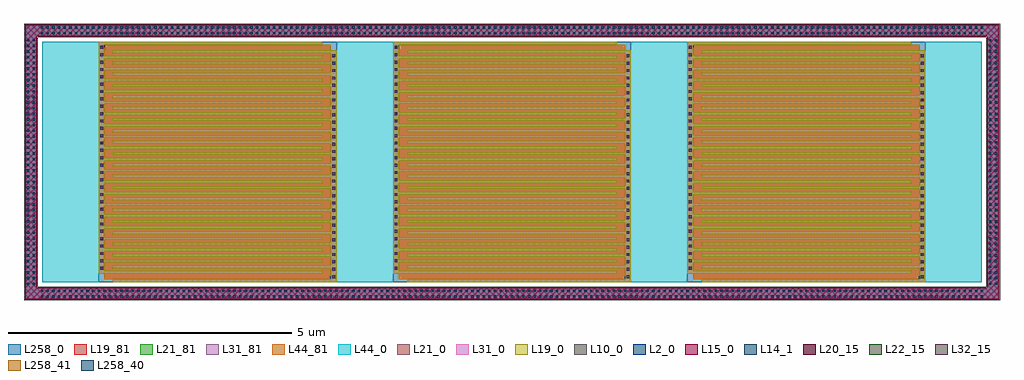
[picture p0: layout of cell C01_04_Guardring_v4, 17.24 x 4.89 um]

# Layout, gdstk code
from math import pi, radians
import gdstk
lib = gdstk.Library(unit=1e-6, precision=1e-09)
def R(c, l, rs):  # rectangles x0, y0, x1, y1
    for r in rs: c.add(gdstk.rectangle(r[:2], r[2:], *l))
def A(c, l, x, y, w, h, nx, ny, dx, dy):  # array of equal rectangles
    R(c, l, [(x+i*dx, y+j*dy, x+i*dx+w, y+j*dy+h) for i in range(nx) for j in range(ny)])
L2_0 = (2, 0)
L10_0 = (10, 0)
L14_1 = (14, 1)
L15_0 = (15, 0)
L19_0 = (19, 0)
L19_81 = (19, 81)
L20_15 = (20, 15)
L21_0 = (21, 0)
L21_81 = (21, 81)
L22_15 = (22, 15)
L31_0 = (31, 0)
L31_81 = (31, 81)
L32_15 = (32, 15)
L44_0 = (44, 0)
L44_81 = (44, 81)
L258_0 = (258, 0)
L258_40 = (258, 40)
L258_41 = (258, 41)

c01_04_guardring_v4_srf_ = lib.new_cell('C01_04_Guardring_v4:SRF_Array:SRF_HDVNCAP:SRF_FingerArray:SRF_FingerPair')
R(c01_04_guardring_v4_srf_, L19_0, [(0.1,-0.15,0.15,3.7), (0,0,0.05,3.85)])
R(c01_04_guardring_v4_srf_, L21_0, [(0.1,-0.15,0.15,3.7), (0,0,0.05,3.85)])
R(c01_04_guardring_v4_srf_, L31_0, [(0.1,-0.15,0.15,3.7), (0,0,0.05,3.85)])
R(c01_04_guardring_v4_srf_, L44_0, [(0.1,-0.15,0.15,3.7), (0,0,0.05,3.85)])

c_c01_04_guardring_v4_srf_ = lib.new_cell('C01_04_Guardring_v4:SRF_Array:SRF_HDVNCAP:SRF_FingerArray')
c_c01_04_guardring_v4_srf_.add(gdstk.Reference(c01_04_guardring_v4_srf_, (0,0)))
c_c01_04_guardring_v4_srf_.add(gdstk.Reference(c01_04_guardring_v4_srf_, (0.2,0)))
c_c01_04_guardring_v4_srf_.add(gdstk.Reference(c01_04_guardring_v4_srf_, (0.4,0)))
c_c01_04_guardring_v4_srf_.add(gdstk.Reference(c01_04_guardring_v4_srf_, (0.6,0)))
c_c01_04_guardring_v4_srf_.add(gdstk.Reference(c01_04_guardring_v4_srf_, (0.8,0)))
c_c01_04_guardring_v4_srf_.add(gdstk.Reference(c01_04_guardring_v4_srf_, (1,0)))
c_c01_04_guardring_v4_srf_.add(gdstk.Reference(c01_04_guardring_v4_srf_, (1.2,0)))
c_c01_04_guardring_v4_srf_.add(gdstk.Reference(c01_04_guardring_v4_srf_, (1.4,0)))
c_c01_04_guardring_v4_srf_.add(gdstk.Reference(c01_04_guardring_v4_srf_, (1.6,0)))
c_c01_04_guardring_v4_srf_.add(gdstk.Reference(c01_04_guardring_v4_srf_, (1.8,0)))
c_c01_04_guardring_v4_srf_.add(gdstk.Reference(c01_04_guardring_v4_srf_, (2,0)))
c_c01_04_guardring_v4_srf_.add(gdstk.Reference(c01_04_guardring_v4_srf_, (2.2,0)))
c_c01_04_guardring_v4_srf_.add(gdstk.Reference(c01_04_guardring_v4_srf_, (2.4,0)))
c_c01_04_guardring_v4_srf_.add(gdstk.Reference(c01_04_guardring_v4_srf_, (2.6,0)))
c_c01_04_guardring_v4_srf_.add(gdstk.Reference(c01_04_guardring_v4_srf_, (2.8,0)))
c_c01_04_guardring_v4_srf_.add(gdstk.Reference(c01_04_guardring_v4_srf_, (3,0)))
c_c01_04_guardring_v4_srf_.add(gdstk.Reference(c01_04_guardring_v4_srf_, (3.2,0)))
c_c01_04_guardring_v4_srf_.add(gdstk.Reference(c01_04_guardring_v4_srf_, (3.4,0)))
c_c01_04_guardring_v4_srf_.add(gdstk.Reference(c01_04_guardring_v4_srf_, (3.6,0)))
c_c01_04_guardring_v4_srf_.add(gdstk.Reference(c01_04_guardring_v4_srf_, (3.8,0)))

c_c01_04_guardring_v4_srf__ = lib.new_cell('C01_04_Guardring_v4:SRF_Array:SRF_HDVNCAP:SRF_Via0_PortA_Hrz:SRF_ViaM3M4')
R(c_c01_04_guardring_v4_srf__, L19_0, [(-0.032,0,3.982,0.05)])
A(c_c01_04_guardring_v4_srf__, L20_15, 0, 0, 0.05, 0.05, 31, 1, 0.13, 0)
R(c_c01_04_guardring_v4_srf__, L21_0, [(-0.032,0,3.982,0.05)])

c_c01_04_guardring_v4_srf___ = lib.new_cell('C01_04_Guardring_v4:SRF_Array:SRF_HDVNCAP:SRF_Via0_PortA_Hrz')
c_c01_04_guardring_v4_srf___.add(gdstk.Reference(c_c01_04_guardring_v4_srf__, (-1.975,-0.025)))

c_c01_04_guardring_v4_srf____ = lib.new_cell('C01_04_Guardring_v4:SRF_Array:SRF_HDVNCAP:SRF_Via1_PortA_Hrz:SRF_ViaM4M5')
R(c_c01_04_guardring_v4_srf____, L21_0, [(-0.032,0,3.982,0.05)])
A(c_c01_04_guardring_v4_srf____, L22_15, 0, 0, 0.05, 0.05, 31, 1, 0.13, 0)
R(c_c01_04_guardring_v4_srf____, L31_0, [(-0.032,0,3.982,0.05)])

c_c01_04_guardring_v4_srf_____ = lib.new_cell('C01_04_Guardring_v4:SRF_Array:SRF_HDVNCAP:SRF_Via1_PortA_Hrz')
c_c01_04_guardring_v4_srf_____.add(gdstk.Reference(c_c01_04_guardring_v4_srf____, (-1.975,-0.025)))

c_c01_04_guardring_v4_srf______ = lib.new_cell('C01_04_Guardring_v4:SRF_Array:SRF_HDVNCAP:SRF_Via2_PortA_Hrz:SRF_ViaM5M6')
R(c_c01_04_guardring_v4_srf______, L31_0, [(-0.032,0,3.982,0.05)])
A(c_c01_04_guardring_v4_srf______, L32_15, 0, 0, 0.05, 0.05, 31, 1, 0.13, 0)
R(c_c01_04_guardring_v4_srf______, L44_0, [(-0.032,0,3.982,0.05)])

c_c01_04_guardring_v4_srf_______ = lib.new_cell('C01_04_Guardring_v4:SRF_Array:SRF_HDVNCAP:SRF_Via2_PortA_Hrz')
c_c01_04_guardring_v4_srf_______.add(gdstk.Reference(c_c01_04_guardring_v4_srf______, (-1.975,-0.025)))

c_c01_04_guardring_v4_srf________ = lib.new_cell('C01_04_Guardring_v4:SRF_Array:SRF_HDVNCAP:SRF_Via0_PortB_Hrz:SRF_ViaM3M4')
R(c_c01_04_guardring_v4_srf________, L19_0, [(-0.032,0,3.982,0.05)])
A(c_c01_04_guardring_v4_srf________, L20_15, 0, 0, 0.05, 0.05, 31, 1, 0.13, 0)
R(c_c01_04_guardring_v4_srf________, L21_0, [(-0.032,0,3.982,0.05)])

c_c01_04_guardring_v4_srf_________ = lib.new_cell('C01_04_Guardring_v4:SRF_Array:SRF_HDVNCAP:SRF_Via0_PortB_Hrz')
c_c01_04_guardring_v4_srf_________.add(gdstk.Reference(c_c01_04_guardring_v4_srf________, (-1.975,-0.025)))

c_c01_04_guardring_v4_srf__________ = lib.new_cell('C01_04_Guardring_v4:SRF_Array:SRF_HDVNCAP:SRF_Via1_PortB_Hrz:SRF_ViaM4M5')
R(c_c01_04_guardring_v4_srf__________, L21_0, [(-0.032,0,3.982,0.05)])
A(c_c01_04_guardring_v4_srf__________, L22_15, 0, 0, 0.05, 0.05, 31, 1, 0.13, 0)
R(c_c01_04_guardring_v4_srf__________, L31_0, [(-0.032,0,3.982,0.05)])

c_c01_04_guardring_v4_srf___________ = lib.new_cell('C01_04_Guardring_v4:SRF_Array:SRF_HDVNCAP:SRF_Via1_PortB_Hrz')
c_c01_04_guardring_v4_srf___________.add(gdstk.Reference(c_c01_04_guardring_v4_srf__________, (-1.975,-0.025)))

c_c01_04_guardring_v4_srf____________ = lib.new_cell('C01_04_Guardring_v4:SRF_Array:SRF_HDVNCAP:SRF_Via2_PortB_Hrz:SRF_ViaM5M6')
R(c_c01_04_guardring_v4_srf____________, L31_0, [(-0.032,0,3.982,0.05)])
A(c_c01_04_guardring_v4_srf____________, L32_15, 0, 0, 0.05, 0.05, 31, 1, 0.13, 0)
R(c_c01_04_guardring_v4_srf____________, L44_0, [(-0.032,0,3.982,0.05)])

c_c01_04_guardring_v4_srf_____________ = lib.new_cell('C01_04_Guardring_v4:SRF_Array:SRF_HDVNCAP:SRF_Via2_PortB_Hrz')
c_c01_04_guardring_v4_srf_____________.add(gdstk.Reference(c_c01_04_guardring_v4_srf____________, (-1.975,-0.025)))

c_c01_04_guardring_v4_srf______________ = lib.new_cell('C01_04_Guardring_v4:SRF_Array:SRF_HDVNCAP')
R(c_c01_04_guardring_v4_srf______________, L19_0, [(-0.15,-0.25,3.95,-0.15), (-0.15,-0.25,-0.1,3.7), (4.05,0,4.1,3.95), (0,3.85,4.1,3.95)])
R(c_c01_04_guardring_v4_srf______________, L19_81, [(-0.1,-0.15,4.05,3.85)])
R(c_c01_04_guardring_v4_srf______________, L21_0, [(-0.15,-0.25,3.95,-0.15), (-0.15,-0.25,-0.1,3.7), (4.05,0,4.1,3.95), (0,3.85,4.1,3.95)])
R(c_c01_04_guardring_v4_srf______________, L21_81, [(-0.1,-0.15,4.05,3.85)])
R(c_c01_04_guardring_v4_srf______________, L31_0, [(-0.15,-0.25,3.95,-0.15), (-0.15,-0.25,-0.1,3.7), (4.05,0,4.1,3.95), (0,3.85,4.1,3.95)])
R(c_c01_04_guardring_v4_srf______________, L31_81, [(-0.1,-0.15,4.05,3.85)])
R(c_c01_04_guardring_v4_srf______________, L44_0, [(-0.15,-0.25,3.95,-0.15), (-0.15,-0.25,-0.1,3.7), (4.05,0,4.1,3.95), (0,3.85,4.1,3.95)])
R(c_c01_04_guardring_v4_srf______________, L44_81, [(-0.1,-0.15,4.05,3.85)])
R(c_c01_04_guardring_v4_srf______________, L258_0, [(-0.15,-0.25,4.1,3.95)])
A(c_c01_04_guardring_v4_srf______________, L258_40, -0.09, -0.15, 0.01, 0.01, 3, 1, 0.02, 0)
A(c_c01_04_guardring_v4_srf______________, L258_41, 3.97, 3.84, 0.01, 0.01, 4, 1, 0.02, 0)
c_c01_04_guardring_v4_srf______________.add(gdstk.Reference(c_c01_04_guardring_v4_srf_, (0,0)))
c_c01_04_guardring_v4_srf______________.add(gdstk.Reference(c_c01_04_guardring_v4_srf___, (2.05,3.9)))
c_c01_04_guardring_v4_srf______________.add(gdstk.Reference(c_c01_04_guardring_v4_srf_____, (2.05,3.9)))
c_c01_04_guardring_v4_srf______________.add(gdstk.Reference(c_c01_04_guardring_v4_srf_______, (2.05,3.9)))
c_c01_04_guardring_v4_srf______________.add(gdstk.Reference(c_c01_04_guardring_v4_srf_________, (1.9,-0.2)))
c_c01_04_guardring_v4_srf______________.add(gdstk.Reference(c_c01_04_guardring_v4_srf___________, (1.9,-0.2)))
c_c01_04_guardring_v4_srf______________.add(gdstk.Reference(c_c01_04_guardring_v4_srf_____________, (1.9,-0.2)))

c_c01_04_guardring_v4_srf_______________ = lib.new_cell('C01_04_Guardring_v4:SRF_Array')
A(c_c01_04_guardring_v4_srf_______________, L44_0, 0, 0, 1, 4.25, 4, 1, 5.2, 0)
c_c01_04_guardring_v4_srf_______________.add(gdstk.Reference(c_c01_04_guardring_v4_srf______________, (4.95,0.15), rotation=pi/2))
c_c01_04_guardring_v4_srf_______________.add(gdstk.Reference(c_c01_04_guardring_v4_srf______________, (10.15,0.15), rotation=pi/2))
c_c01_04_guardring_v4_srf_______________.add(gdstk.Reference(c_c01_04_guardring_v4_srf______________, (15.35,0.15), rotation=pi/2))

c01_04_guardring_v4__pbo = lib.new_cell('C01_04_Guardring_v4:_Pbodyring:SRF_PbodyTop:SRF_PbodyContactPhyLen')
R(c01_04_guardring_v4__pbo, L2_0, [(-0.08,-0.13,16.72,0.07)])
R(c01_04_guardring_v4__pbo, L10_0, [(-0.101,-0.151,16.741,0.091)])
A(c01_04_guardring_v4__pbo, L14_1, 0, -0.1, 0.04, 0.04, 167, 2, 0.1, 0.1)
R(c01_04_guardring_v4__pbo, L15_0, [(-0.08,-0.13,16.72,0.07)])

c_c01_04_guardring_v4__pbo = lib.new_cell('C01_04_Guardring_v4:_Pbodyring:SRF_PbodyTop')
c_c01_04_guardring_v4__pbo.add(gdstk.Reference(c01_04_guardring_v4__pbo, (0,0)))

c_c01_04_guardring_v4__pbo_ = lib.new_cell('C01_04_Guardring_v4:_Pbodyring:SRF_PbodyBottom:SRF_PbodyContactPhyLen')
R(c_c01_04_guardring_v4__pbo_, L2_0, [(-0.08,-0.13,16.72,0.07)])
R(c_c01_04_guardring_v4__pbo_, L10_0, [(-0.101,-0.151,16.741,0.091)])
A(c_c01_04_guardring_v4__pbo_, L14_1, 0, -0.1, 0.04, 0.04, 167, 2, 0.1, 0.1)
R(c_c01_04_guardring_v4__pbo_, L15_0, [(-0.08,-0.13,16.72,0.07)])

c_c01_04_guardring_v4__pbo__ = lib.new_cell('C01_04_Guardring_v4:_Pbodyring:SRF_PbodyBottom')
c_c01_04_guardring_v4__pbo__.add(gdstk.Reference(c_c01_04_guardring_v4__pbo_, (0,0)))

c_c01_04_guardring_v4__pbo___ = lib.new_cell('C01_04_Guardring_v4:_Pbodyring:SRF_PbodyLeft:SRF_PbodyContactPhyLen')
R(c_c01_04_guardring_v4__pbo___, L2_0, [(-0.03,-4.355,0.17,0.095)])
R(c_c01_04_guardring_v4__pbo___, L10_0, [(-0.051,-4.376,0.191,0.116)])
A(c_c01_04_guardring_v4__pbo___, L14_1, 0, -4.3, 0.04, 0.04, 1, 44, 0, 0.1)
A(c_c01_04_guardring_v4__pbo___, L14_1, 0.1, -4.3, 0.04, 0.04, 1, 44, 0, 0.1)
R(c_c01_04_guardring_v4__pbo___, L15_0, [(-0.03,-4.355,0.17,0.095)])

c_c01_04_guardring_v4__pbo____ = lib.new_cell('C01_04_Guardring_v4:_Pbodyring:SRF_PbodyLeft')
c_c01_04_guardring_v4__pbo____.add(gdstk.Reference(c_c01_04_guardring_v4__pbo___, (0,0)))

c_c01_04_guardring_v4__pbo_____ = lib.new_cell('C01_04_Guardring_v4:_Pbodyring:SRF_PbodyRight:SRF_PbodyContactPhyLen')
R(c_c01_04_guardring_v4__pbo_____, L2_0, [(-0.03,-4.355,0.17,0.095)])
R(c_c01_04_guardring_v4__pbo_____, L10_0, [(-0.051,-4.376,0.191,0.116)])
A(c_c01_04_guardring_v4__pbo_____, L14_1, 0, -4.3, 0.04, 0.04, 1, 44, 0, 0.1)
A(c_c01_04_guardring_v4__pbo_____, L14_1, 0.1, -4.3, 0.04, 0.04, 1, 44, 0, 0.1)
R(c_c01_04_guardring_v4__pbo_____, L15_0, [(-0.03,-4.355,0.17,0.095)])

c_c01_04_guardring_v4__pbo______ = lib.new_cell('C01_04_Guardring_v4:_Pbodyring:SRF_PbodyRight')
c_c01_04_guardring_v4__pbo______.add(gdstk.Reference(c_c01_04_guardring_v4__pbo_____, (0,0)))

c_c01_04_guardring_v4__pbo_______ = lib.new_cell('C01_04_Guardring_v4:_Pbodyring')
R(c_c01_04_guardring_v4__pbo_______, L2_0, [(-0.28,-4.78,16.92,-4.58), (-0.28,-4.78,-0.08,0.07), (16.72,-4.78,16.92,0.07), (-0.28,-0.13,16.92,0.07)])
R(c_c01_04_guardring_v4__pbo_______, L10_0, [(-0.301,-4.801,16.941,-4.559), (-0.301,-4.801,-0.059,0.091), (16.699,-4.801,16.941,0.091), (-0.301,-0.151,16.941,0.091)])
R(c_c01_04_guardring_v4__pbo_______, L15_0, [(-0.28,-4.78,16.92,-4.58), (-0.28,-4.78,-0.08,0.07), (16.72,-4.78,16.92,0.07), (-0.28,-0.13,16.92,0.07)])
c_c01_04_guardring_v4__pbo_______.add(gdstk.Reference(c_c01_04_guardring_v4__pbo, (0,0)))
c_c01_04_guardring_v4__pbo_______.add(gdstk.Reference(c_c01_04_guardring_v4__pbo__, (0,-4.65)))
c_c01_04_guardring_v4__pbo_______.add(gdstk.Reference(c_c01_04_guardring_v4__pbo____, (-0.25,-0.225)))
c_c01_04_guardring_v4__pbo_______.add(gdstk.Reference(c_c01_04_guardring_v4__pbo______, (16.75,-0.225)))

c01_04_guardring_v4 = lib.new_cell('C01_04_Guardring_v4')
c01_04_guardring_v4.add(gdstk.Reference(c_c01_04_guardring_v4_srf_______________, (0,0)))
c01_04_guardring_v4.add(gdstk.Reference(c_c01_04_guardring_v4__pbo_______, (-0.02,4.48)))

lib.write_gds('C01_04_Guardring_v4.gds')
